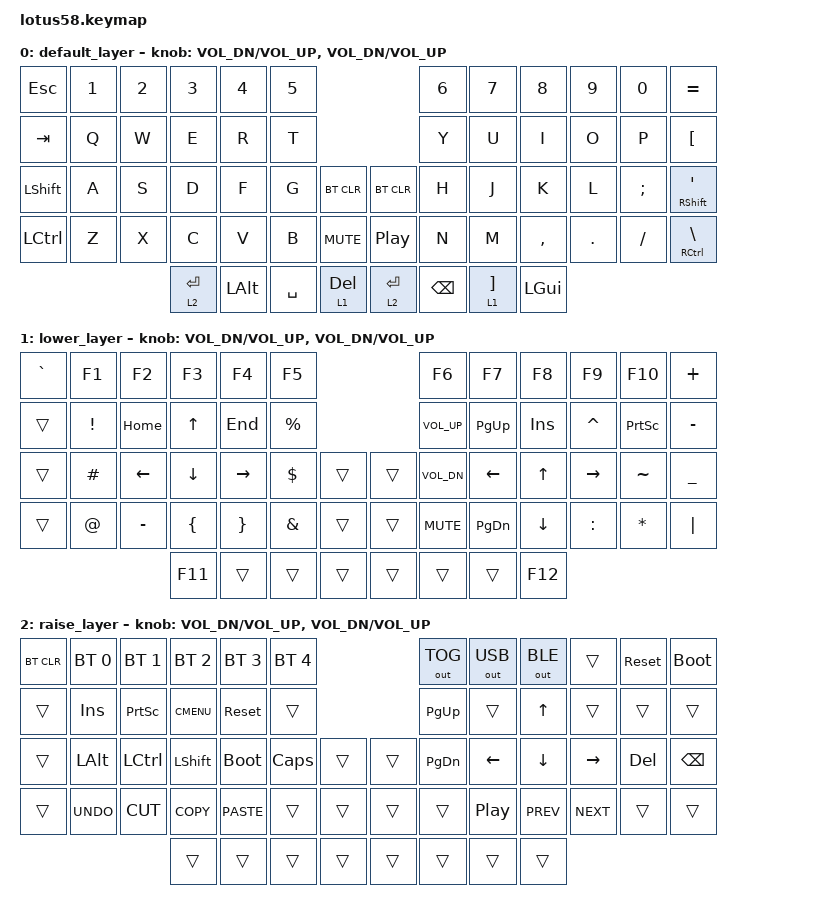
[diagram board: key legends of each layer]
/*
 * Copyright (c) 2020 The ZMK Contributors
 *
 * SPDX-License-Identifier: MIT
 */

#include <behaviors.dtsi>
#include <dt-bindings/zmk/keys.h>
#include <dt-bindings/zmk/bt.h>
#include <dt-bindings/zmk/ext_power.h>
#include <dt-bindings/zmk/outputs.h>

/ {

	keymap {
        compatible = "zmk,keymap";

        default_layer {
//   ------------------------------------------------------------------------------------------------------------
//  0|  ESC  |  1  |  2  |  3   |  4   |  5   |                     |  6   |  7    |  8    |  9   |   0   |   =   | 11
// 12|  TAB  |  Q  |  W  |  E   |  R   |  T   |                     |  Y   |  U    |  I    |  O   |   P   |   [   | 23
// 24|  SFT  |  A  |  S  |  D   |  F   |  G   |  RESET  |  | RESET  |  H   |  J    |  K    |  L   |   ;   | ' SFT | 37
// 38|  CTRL |  Z  |  X  |  C   |  V   |  B   |  MUTE   |  | PLAY   |  N   |  M    |  ,    |  .   |   /   | \ CTRL| 51
// 52                    |ENT RS|  ALT | SPACE|DELETE LW|  |ENTER RS| BSPC |  ] LW | RGUI  |                        59
            bindings = <
&kp ESC   &kp N1 &kp N2   &kp N3     &kp N4   &kp N5                                &kp N6    &kp N7      &kp N8    &kp N9   &kp N0   &kp EQUAL
&kp TAB   &kp Q  &kp W    &kp E      &kp R     &kp T                                &kp Y     &kp U       &kp I     &kp O    &kp P    &kp LBKT
&kp LSHFT &kp A  &kp S    &kp D      &kp F     &kp G      &bt BT_CLR     &bt BT_CLR &kp H     &kp J       &kp K     &kp L    &kp SEMI &mt RSHFT SQT
&kp LCTRL &kp Z  &kp X    &kp C      &kp V     &kp B      &kp C_MUTE     &kp C_PP   &kp N     &kp M       &kp COMMA &kp DOT  &kp FSLH &mt RCTRL BSLH
                          &lt 2 RET  &kp LALT  &kp SPACE  &lt 1 DEL      &lt 2 RET  &kp BSPC  &lt 1 RBKT  &kp LGUI
            >;

            sensor-bindings = <&inc_dec_kp C_VOL_DN C_VOL_UP &inc_dec_kp C_VOL_DN C_VOL_UP>;
        };

        lower_layer {
// ------------------------------------------------------------------------------------------------------------
// | `     |  F1 |  F2 |  F3  |  F4  |  F5  |                   |  F6  |  F7   |  F8   |  F9  |  F10  |  F11  |
// |       |  !  | HOME|   ^  |  END |  %   |                   | VOL^ |  PGUP |  INS  |  ^   |  PSCR |   -   |
// |       |  #  |  <- |   v  | ->   |  $   |        |  |       | VOLv |    <- |   ^   |  ->  |   ~   |   _   |
// |       |  @  |  -  |  (   |  )   |  &   |        |  |       | MUTE |  PGDN |   v   |  :   |   *   |   |   |
//                     |  F11 |      |      |        |  |       |      |       |  F12  |
            bindings = <
&kp GRAVE  &kp F1    &kp F2    &kp F3      &kp F4     &kp F5                     &kp F6        &kp F7     &kp F8    &kp F9     &kp F10   &kp PLUS
&trans     &kp EXCL  &kp HOME  &kp UP      &kp END    &kp PRCNT                  &kp C_VOL_UP  &kp PG_UP  &kp INS   &kp CARET  &kp PSCRN &kp MINUS
&trans     &kp HASH  &kp LEFT  &kp DOWN    &kp RIGHT  &kp DLLR  &trans   &trans  &kp C_VOL_DN  &kp LEFT   &kp UP    &kp RIGHT  &kp TILDE &kp UNDER
&trans     &kp AT    &kp MINUS &kp LBRC    &kp RBRC   &kp AMPS  &trans   &trans  &kp C_MUTE    &kp PG_DN  &kp DOWN  &kp COLON  &kp STAR  &kp PIPE
                               &kp F11     &trans     &trans    &trans   &trans  &trans        &trans     &kp F12
            >;

            sensor-bindings = <&inc_dec_kp C_VOL_DN C_VOL_UP &inc_dec_kp C_VOL_DN C_VOL_UP>;
        };

        raise_layer {
// ------------------------------------------------------------------------------------------------------------
// |BTCLR| BT1  | BT2  |  BT3  |  BT4  |  BT5 |                |OUTTOG|OUTUSB| OUTBT |      | RESET | FLASH |
// |     | INS  | PSCR | GUI   | RESET |      |                | PGUP |      |   ^   |      |       |       |
// |     | ALT  | CTRL | SHIFT | FLASH | CAPS |      |  |      | PGDN |   <- |   v   |  ->  |  DEL  | BSPC  |
// |     | UNDO | CUT  | COPY  | PASTE |      |      |  |      |      |  |>  |  <|<| | |>|> |       |       |
//                     |       |       |      |      |  |      |      |      |       |
            bindings = <
&bt BT_CLR &bt BT_SEL 0 &bt BT_SEL 1 &bt BT_SEL 2 &bt BT_SEL 3 &bt BT_SEL 4                    &out OUT_TOG  &out OUT_USB  &out OUT_BLE  &trans     &sys_reset  &bootloader
&trans     &kp INS      &kp PSCRN    &kp K_CMENU  &sys_reset       &trans                          &kp PG_UP     &trans        &kp UP        &trans     &trans  &trans
&trans     &kp LALT     &kp LCTRL    &kp LSHFT    &bootloader  &kp CLCK     &trans   &trans    &kp PG_DN     &kp LEFT      &kp DOWN      &kp RIGHT  &kp DEL &kp BSPC
&trans     &kp K_UNDO   &kp K_CUT    &kp K_COPY   &kp K_PASTE  &trans       &trans   &trans    &trans        &kp C_PP      &kp C_PREV    &kp C_NEXT &trans  &trans
                                     &trans       &trans       &trans       &trans   &trans    &trans        &trans        &trans
            >;

            sensor-bindings = <&inc_dec_kp C_VOL_DN C_VOL_UP &inc_dec_kp C_VOL_DN C_VOL_UP>;
        };
    };
};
